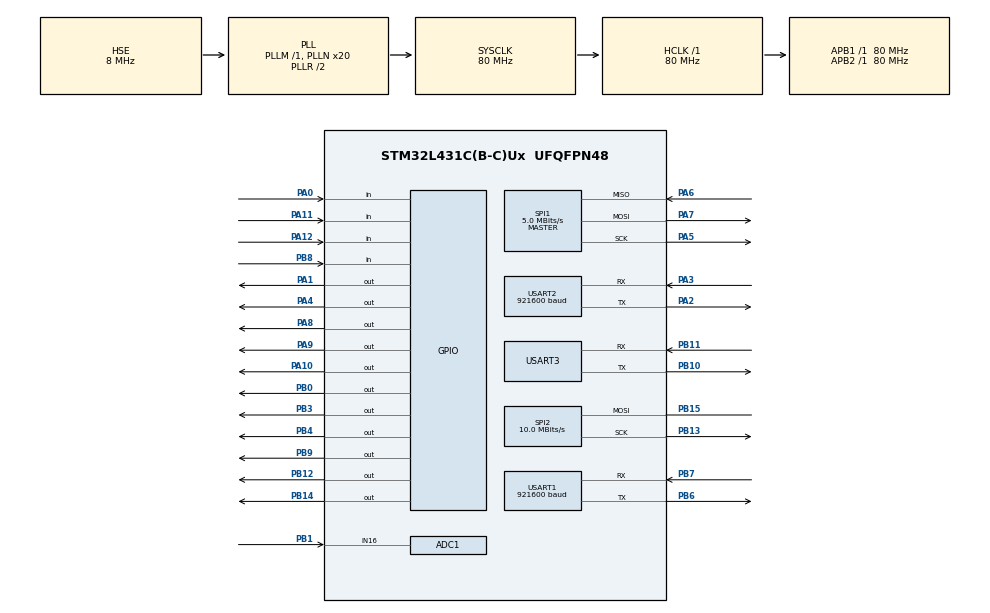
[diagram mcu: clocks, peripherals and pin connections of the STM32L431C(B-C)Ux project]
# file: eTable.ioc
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ADC1.Channel-2\#ChannelRegularConversion=ADC_CHANNEL_16
ADC1.NbrOfConversionFlag=1
ADC1.OffsetNumber-2\#ChannelRegularConversion=ADC_OFFSET_NONE
ADC1.Rank-2\#ChannelRegularConversion=1
ADC1.SamplingTime-2\#ChannelRegularConversion=ADC_SAMPLETIME_2CYCLES_5
ADC1.master=1
FREERTOS.Queues01=QueueBLEusart,1100,uint8_t,0,Dynamic,NULL,NULL
FREERTOS.Tasks01=getBLETask,40,1800,GetBLETask,Default,NULL,Dynamic,NULL,NULL;ConfigdisTask,8,500,configdisTask,Default,NULL,Dynamic,NULL,NULL
FREERTOS.configTOTAL_HEAP_SIZE=24000
Mcu.Family=STM32L4
Mcu.Name=STM32L431C(B-C)Ux
Mcu.Package=UFQFPN48
NVIC.PriorityGroup=NVIC_PRIORITYGROUP_4
NVIC.TIM1_UP_TIM16_IRQn=true\:0\:0\:false\:false\:true\:false\:false\:true
NVIC.TimeBase=TIM1_UP_TIM16_IRQn
NVIC.TimeBaseIP=TIM16
NVIC.USART2_IRQn=true\:6\:0\:true\:false\:true\:false\:true\:true
PA0.GPIO_PuPd=GPIO_PULLUP
PA0.Signal=GPIO_Input
PA1.Signal=GPIO_Output
PA10.Signal=GPIO_Output
PA11.GPIO_PuPd=GPIO_PULLUP
PA11.Signal=GPIO_Input
PA12.GPIO_PuPd=GPIO_PULLUP
PA12.Signal=GPIO_Input
PA13\ (JTMS-SWDIO).Mode=Serial_Wire
PA13\ (JTMS-SWDIO).Signal=SYS_JTMS-SWDIO
PA14\ (JTCK-SWCLK).Mode=Serial_Wire
PA14\ (JTCK-SWCLK).Signal=SYS_JTCK-SWCLK
PA2.GPIO_PuPd=GPIO_PULLUP
PA2.Mode=Asynchronous
PA2.Signal=USART2_TX
PA3.GPIO_PuPd=GPIO_PULLUP
PA3.Mode=Asynchronous
PA3.Signal=USART2_RX
PA4.PinState=GPIO_PIN_SET
PA4.Signal=GPIO_Output
PA5.Mode=Full_Duplex_Master
PA5.Signal=SPI1_SCK
PA6.Mode=Full_Duplex_Master
PA6.Signal=SPI1_MISO
PA7.Mode=Full_Duplex_Master
PA7.Signal=SPI1_MOSI
PA8.Signal=GPIO_Output
PA9.Signal=GPIO_Output
PB0.PinState=GPIO_PIN_SET
PB0.Signal=GPIO_Output
PB1.Signal=SharedAnalog_PB1
PB10.GPIO_PuPd=GPIO_PULLUP
PB10.Mode=Asynchronous
PB10.Signal=USART3_TX
PB11.GPIO_PuPd=GPIO_PULLUP
PB11.Mode=Asynchronous
PB11.Signal=USART3_RX
PB12.Signal=GPIO_Output
PB13.Mode=Simplex_Bidirectional_Master
PB13.Signal=SPI2_SCK
PB14.Signal=GPIO_Output
PB15.Mode=Simplex_Bidirectional_Master
PB15.Signal=SPI2_MOSI
PB3\ (JTDO-TRACESWO).Signal=GPIO_Output
PB4\ (NJTRST).Signal=GPIO_Output
PB6.GPIO_PuPd=GPIO_PULLUP
PB6.Mode=Asynchronous
PB6.Signal=USART1_TX
PB7.GPIO_PuPd=GPIO_PULLUP
PB7.Mode=Asynchronous
PB7.Signal=USART1_RX
PB8.Signal=GPIO_Input
PB9.Signal=GPIO_Output
PC14-OSC32_IN\ (PC14).Mode=LSE-External-Oscillator
PC14-OSC32_IN\ (PC14).Signal=RCC_OSC32_IN
PC15-OSC32_OUT\ (PC15).Mode=LSE-External-Oscillator
PC15-OSC32_OUT\ (PC15).Signal=RCC_OSC32_OUT
PH0-OSC_IN\ (PH0).Mode=HSE-External-Oscillator
PH0-OSC_IN\ (PH0).Signal=RCC_OSC_IN
PH1-OSC_OUT\ (PH1).Mode=HSE-External-Oscillator
PH1-OSC_OUT\ (PH1).Signal=RCC_OSC_OUT
ProjectManager.HeapSize=0x200
ProjectManager.StackSize=0x400
ProjectManager.TargetToolchain=EWARM V8.32
RCC.ADCCLockSelection=RCC_ADCCLKSOURCE_SYSCLK
RCC.ADCFreq_Value=80000000
RCC.AHBFreq_Value=80000000
RCC.APB1Freq_Value=80000000
RCC.APB1TimFreq_Value=80000000
RCC.APB2Freq_Value=80000000
RCC.APB2TimFreq_Value=80000000
RCC.CortexFreq_Value=80000000
RCC.HCLKFreq_Value=80000000
RCC.HSE_VALUE=8000000
RCC.HSI48_VALUE=48000000
RCC.HSI_VALUE=16000000
RCC.MSI_VALUE=4000000
RCC.PLLN=20
RCC.PLLSAI1N=16
RCC.PLLSourceVirtual=RCC_PLLSOURCE_HSE
RCC.RTCClockSelection=RCC_RTCCLKSOURCE_LSE
RCC.SYSCLKFreq_VALUE=80000000
RCC.SYSCLKSource=RCC_SYSCLKSOURCE_PLLCLK
RCC.VCOOutputFreq_Value=160000000
SH.SharedAnalog_PB1.0=GPIO_Analog
SH.SharedAnalog_PB1.1=ADC1_IN16,IN16-Single-Ended
SPI1.BaudRatePrescaler=SPI_BAUDRATEPRESCALER_16
SPI1.CalculateBaudRate=5.0 MBits/s
SPI1.DataSize=SPI_DATASIZE_8BIT
SPI1.Direction=SPI_DIRECTION_2LINES
SPI1.Mode=SPI_MODE_MASTER
SPI1.NSSPMode=SPI_NSS_PULSE_DISABLE
SPI1.VirtualType=VM_MASTER
SPI2.BaudRatePrescaler=SPI_BAUDRATEPRESCALER_8
SPI2.CalculateBaudRate=10.0 MBits/s
SPI2.DataSize=SPI_DATASIZE_8BIT
SPI2.Direction=SPI_DIRECTION_1LINE
SPI2.Mode=SPI_MODE_MASTER
SPI2.NSSPMode=SPI_NSS_PULSE_DISABLE
SPI2.VirtualType=VM_MASTER
USART1.BaudRate=921600
USART1.VirtualMode-Asynchronous=VM_ASYNC
USART2.BaudRate=921600
USART2.VirtualMode-Asynchronous=VM_ASYNC
USART3.VirtualMode-Asynchronous=VM_ASYNC
VP_FREERTOS_VS_CMSIS_V2.Mode=CMSIS_V2
VP_RTC_VS_RTC_Activate.Mode=RTC_Enabled
VP_SYS_VS_tim16.Mode=TIM16
board=custom

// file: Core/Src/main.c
/* USER CODE BEGIN Header */
/**
  ******************************************************************************
  * @file           : main.c
  * @brief          : Main program body
  ******************************************************************************
  * @attention
  *
  * <h2><center>&copy; Copyright (c) 2021 STMicroelectronics.
  * All rights reserved.</center></h2>
  *
  * This software component is licensed by ST under Ultimate Liberty license
  * SLA0044, the "License"; You may not use this file except in compliance with
  * the License. You may obtain a copy of the License at:
  *                             www.st.com/SLA0044
  *
  ******************************************************************************
  */
/* USER CODE END Header */
#include "main.h"
#include "cmsis_os.h"
#include "adc.h"
#include "rtc.h"
#include "spi.h"
#include "usart.h"
#include "gpio.h"

/* USER CODE BEGIN Includes */
#include "dataconfig.h"
#include "tablesign.h"
/* USER CODE END Includes */

void SystemClock_Config(void);
void MX_FREERTOS_Init(void);

/* USER CODE BEGIN 0 */
extern Display_Data eDisplay_Data;
/* USER CODE END 0 */

int main(void)
{

  /* MCU Configuration--------------------------------------------------------*/

  /* Reset of all peripherals, Initializes the Flash interface and the Systick. */
  HAL_Init();

  /* Configure the system clock */
  SystemClock_Config();

  /* Initialize all configured peripherals */
  MX_GPIO_Init();
  MX_ADC1_Init();
  MX_RTC_Init();
  MX_SPI1_Init();
  MX_SPI2_Init();
  MX_USART1_UART_Init();
  MX_USART2_UART_Init();
  MX_USART3_UART_Init();

  /* Init scheduler */
  osKernelInitialize();  /* Call init function for freertos objects (in freertos.c) */
  MX_FREERTOS_Init();
  /* Start scheduler */
  osKernelStart();

  /* We should never get here as control is now taken by the scheduler */
  /* Infinite loop */
  while (1)
  {

  }
}

void SystemClock_Config(void)
{
  RCC_OscInitTypeDef RCC_OscInitStruct = {0};
  RCC_ClkInitTypeDef RCC_ClkInitStruct = {0};
  RCC_PeriphCLKInitTypeDef PeriphClkInit = {0};

  /** Configure LSE Drive Capability
  */
  HAL_PWR_EnableBkUpAccess();
  __HAL_RCC_LSEDRIVE_CONFIG(RCC_LSEDRIVE_LOW);
  /** Initializes the RCC Oscillators according to the specified parameters
  * in the RCC_OscInitTypeDef structure.
  */
  RCC_OscInitStruct.OscillatorType = RCC_OSCILLATORTYPE_HSE|RCC_OSCILLATORTYPE_LSE;
  RCC_OscInitStruct.HSEState = RCC_HSE_ON;
  RCC_OscInitStruct.LSEState = RCC_LSE_ON;
  RCC_OscInitStruct.PLL.PLLState = RCC_PLL_ON;
  RCC_OscInitStruct.PLL.PLLSource = RCC_PLLSOURCE_HSE;
  RCC_OscInitStruct.PLL.PLLM = 1;
  RCC_OscInitStruct.PLL.PLLN = 20;
  RCC_OscInitStruct.PLL.PLLP = RCC_PLLP_DIV7;
  RCC_OscInitStruct.PLL.PLLQ = RCC_PLLQ_DIV2;
  RCC_OscInitStruct.PLL.PLLR = RCC_PLLR_DIV2;
  if (HAL_RCC_OscConfig(&RCC_OscInitStruct) != HAL_OK)
  {
    Error_Handler();
  }
  /** Initializes the CPU, AHB and APB buses clocks
  */
  RCC_ClkInitStruct.ClockType = RCC_CLOCKTYPE_HCLK|RCC_CLOCKTYPE_SYSCLK
                              |RCC_CLOCKTYPE_PCLK1|RCC_CLOCKTYPE_PCLK2;
  RCC_ClkInitStruct.SYSCLKSource = RCC_SYSCLKSOURCE_PLLCLK;
  RCC_ClkInitStruct.AHBCLKDivider = RCC_SYSCLK_DIV1;
  RCC_ClkInitStruct.APB1CLKDivider = RCC_HCLK_DIV1;
  RCC_ClkInitStruct.APB2CLKDivider = RCC_HCLK_DIV1;

  if (HAL_RCC_ClockConfig(&RCC_ClkInitStruct, FLASH_LATENCY_4) != HAL_OK)
  {
    Error_Handler();
  }
  PeriphClkInit.PeriphClockSelection = RCC_PERIPHCLK_RTC|RCC_PERIPHCLK_USART1
                              |RCC_PERIPHCLK_USART2|RCC_PERIPHCLK_USART3
                              |RCC_PERIPHCLK_ADC;
  PeriphClkInit.Usart1ClockSelection = RCC_USART1CLKSOURCE_PCLK2;
  PeriphClkInit.Usart2ClockSelection = RCC_USART2CLKSOURCE_PCLK1;
  PeriphClkInit.Usart3ClockSelection = RCC_USART3CLKSOURCE_PCLK1;
  PeriphClkInit.AdcClockSelection = RCC_ADCCLKSOURCE_SYSCLK;
  PeriphClkInit.RTCClockSelection = RCC_RTCCLKSOURCE_LSE;
  if (HAL_RCCEx_PeriphCLKConfig(&PeriphClkInit) != HAL_OK)
  {
    Error_Handler();
  }
  /** Configure the main internal regulator output voltage
  */
  if (HAL_PWREx_ControlVoltageScaling(PWR_REGULATOR_VOLTAGE_SCALE1) != HAL_OK)
  {
    Error_Handler();
  }
}

/* USER CODE BEGIN 4 */
///*蓝牙串口回调函数*/
//void HAL_UART_RxCpltCallback(UART_HandleTypeDef *huart){
//  if(huart == &huart2){
//    BLE_CallBack();
//  }
//}

/* USER CODE END 4 */

void HAL_TIM_PeriodElapsedCallback(TIM_HandleTypeDef *htim)
{
  if (htim->Instance == TIM16) {
    HAL_IncTick();
  }
}

void Error_Handler(void)
{
}

/************************ (C) COPYRIGHT STMicroelectronics *****END OF FILE****/

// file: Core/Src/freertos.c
/* USER CODE BEGIN Header */
/**
  ******************************************************************************
  * File Name          : freertos.c
  * Description        : Code for freertos applications
  ******************************************************************************
  * @attention
  *
  * <h2><center>&copy; Copyright (c) 2021 STMicroelectronics.
  * All rights reserved.</center></h2>
  *
  * This software component is licensed by ST under Ultimate Liberty license
  * SLA0044, the "License"; You may not use this file except in compliance with
  * the License. You may obtain a copy of the License at:
  *                             www.st.com/SLA0044
  *
  ******************************************************************************
  */
/* USER CODE END Header */

#include "FreeRTOS.h"
#include "task.h"
#include "main.h"
#include "cmsis_os.h"

/* USER CODE BEGIN Includes */
#include "string.h"
#include "w25q128.h"
#include "dataconfig.h"
#include "blecomm.h"
#include "gpio.h"
#include "usart.h"
#include "spi.h"
#include "adc.h"
/* USER CODE END Includes */

/* USER CODE BEGIN PD */
void Lpower_sleep_config(void);
/* USER CODE END PD */

/* USER CODE BEGIN PM */
/*定义无连接计�?*/
uint8_t connttimeout=0;

uint32_t BLEUart2RxCnt=0;
uint8_t  BLEUart2RxData[1124] = {0};

extern uint8_t Displayflag;

extern UART_HandleTypeDef huart2;

extern Display_Data eDisplay_Data;
/* USER CODE END PM */

/* USER CODE BEGIN Variables */
unsigned char pBits[192*192/8];
/* USER CODE END Variables */
/* Definitions for getBLETask */
osThreadId_t getBLETaskHandle;
const osThreadAttr_t getBLETask_attributes = {
  .name = "getBLETask",
  .priority = (osPriority_t) osPriorityHigh,
  .stack_size = 1800 * 4
};
/* Definitions for ConfigdisTask */
osThreadId_t ConfigdisTaskHandle;
const osThreadAttr_t ConfigdisTask_attributes = {
  .name = "ConfigdisTask",
  .priority = (osPriority_t) osPriorityLow,
  .stack_size = 500 * 4
};
/* Definitions for QueueBLEusart */
osMessageQueueId_t QueueBLEusartHandle;
const osMessageQueueAttr_t QueueBLEusart_attributes = {
  .name = "QueueBLEusart"
};

void GetBLETask(void *argument);
void configdisTask(void *argument);

void MX_FREERTOS_Init(void); /* (MISRA C 2004 rule 8.1) */

void MX_FREERTOS_Init(void) {

  /* Create the queue(s) */
  /* creation of QueueBLEusart */
  QueueBLEusartHandle = osMessageQueueNew (1100, sizeof(uint8_t), &QueueBLEusart_attributes);

  /* Create the thread(s) */
  /* creation of getBLETask */
  getBLETaskHandle = osThreadNew(GetBLETask, NULL, &getBLETask_attributes);

  /* creation of ConfigdisTask */
  ConfigdisTaskHandle = osThreadNew(configdisTask, NULL, &ConfigdisTask_attributes);

}

void GetBLETask(void *argument)
{
  /* USER CODE BEGIN GetBLETask */
  uint8_t indata;
  uint8_t ebuff;
  HAL_UART_Receive_IT(&_BLE_USART, &indata, 1);

  memset(&eDisplay_Data,0,sizeof(eDisplay_Data));
  /* Infinite loop */
  while(1)
  {
    if(osMessageQueueGet(QueueBLEusartHandle, &ebuff, NULL, portMAX_DELAY) == osOK)
    {
//      BLEUart2RxData[BLEUart2RxCnt++] = ebuff;
      /*设置接收超时时间，时间越长可等待蓝牙容错率越�?*/
      osDelay(500);
//      HAL_NVIC_DisableIRQ(USART2_IRQn);
//      while(1)
//      {
//        /*将获取的数据放入接收字符串中*/
//        if(osMessageQueueGet(QueueBLEusartHandle, &ebuff, NULL, 300) == osOK)
//        {
//          BLEUart2RxData[BLEUart2RxCnt++] = ebuff;
//        }
//        else
//        {
//          /*接收数据完毕处理相应信息*/
//          Rev_DataAnalye(BLEEVENT,BLEUart2RxData,BLEUart2RxCnt);
//          /*清理相关BUFF*/
//          memset(BLEUart2RxData,0,sizeof(BLEUart2RxData));
//          BLEUart2RxCnt = 0;
//          break;
//        }
//      }
          /*接收数据完毕处理相应信息*/
        if(BLEUart2RxData[0] == 0xFF)
          Rev_DataAnalye(BLEEVENT,BLEUart2RxData,BLEUart2RxCnt);
//          HAL_NVIC_EnableIRQ(USART2_IRQn);
//          /*清理相关BUFF*/
          memset(BLEUart2RxData,0,sizeof(BLEUart2RxData));
          BLEUart2RxCnt = 0;
    }
  }
  /* USER CODE END GetBLETask */
}

void configdisTask(void *argument)
{
  /* USER CODE BEGIN configdisTask */
  /* Infinite loop */
  while(1)
  {
    /*判断电平是否处于高电平，高电平处于连接状�?*/
    if( BLEWakeUp == 0 )
    {
      if(connttimeout > 0)
      {
        connttimeout=0;
      }
    }
    /*判断是否在显示屏�?*/
    else if(Displayflag)
    {
      switch(Displayflag)
      {
        case 1:
          if(TABLEA_BUSY() != 0)
          {
            Displayflag = 0;
            TABLEPOWOFF();
          }
          break;
        case 2:
          if(TABLEB_BUSY() != 0)
          {
            Displayflag = 0;
            TABLEPOWOFF();
          }
        default:
          if((TABLEA_BUSY() != 0) && (TABLEB_BUSY() != 0))
          {
            Displayflag = 0;
            TABLEPOWOFF();
          }
      }
      if(connttimeout > 0)
      {
        connttimeout=0;
      }
    }
    else
    {
      connttimeout++;
      user_main_info("BLE connect timeout %d",connttimeout);
      /*如果断开设备之后6秒，则进入显示设备消息显�?*/
      if(connttimeout > 1)
      {
        if(eDisplay_Data.WIRTEDAT == 1)
          memset(&eDisplay_Data,0,sizeof(eDisplay_Data));
        /*�?测设备是否有输入数据并进行显�?*/
        if(eDisplay_Data.DATAMODA)
        {
          TableSignSeting(TabFaceA,eDisplay_Data.PICADDRA,eDisplay_Data.DATAMODA);
          eDisplay_Data.DATAMODA = Picnone;
          eDisplay_Data.PICADDRA = 0;
        }
        /*�?测设备是否有输入数据并进行显�?*/
        if(eDisplay_Data.DATAMODB)
        {
          TableSignSeting(TabFaceB,eDisplay_Data.PICADDRB,eDisplay_Data.DATAMODB);
          eDisplay_Data.DATAMODB = Picnone;
          eDisplay_Data.PICADDRB = 0;
        }
        /*�?测设备是否有输入数据并进行显�?*/
        if(eDisplay_Data.DATAMODAB)
        {
          TableSignSeting(TabFaceAB,eDisplay_Data.PICADDRAB,eDisplay_Data.DATAMODAB);
          eDisplay_Data.DATAMODAB = Picnone;
          eDisplay_Data.PICADDRAB = 0;
        }
      }
      /*如果超时将设备进入休眠模�?*/
      if(connttimeout > 10)
      {
        connttimeout = 0;
        TABLEPOWOFF();
        user_main_info("BLE connect timeout entry");
        /*断开超时之后进入休眠*/
        Lpower_sleep_config();
      }
    }
    osDelay(500);
   }
  /* USER CODE END configdisTask */
}

/* USER CODE BEGIN Application */
void BLE_handle_uartirq(char ch)
{
  osMessageQueuePut(QueueBLEusartHandle, &ch, NULL, 0);
}

/*低功耗休眠函数设�?*/
void Lpower_sleep_config(void)
{
  GPIO_InitTypeDef GPIO_InitStruct;

  user_main_info("BLE no connent device will sleep");
  SPI_DeInit();
  ADC_DeInit();
//  UART_Init();

  user_main_info("BLE entry sleep");
  __HAL_RCC_GPIOA_CLK_ENABLE();
  __HAL_RCC_GPIOB_CLK_ENABLE();
  __HAL_RCC_GPIOC_CLK_ENABLE();
  __HAL_RCC_GPIOH_CLK_ENABLE();

  GPIO_InitStruct.Mode = GPIO_MODE_ANALOG;
  GPIO_InitStruct.Pull = GPIO_NOPULL;
  GPIO_InitStruct.Pin = GPIO_PIN_All;
  HAL_GPIO_Init(GPIOC, &GPIO_InitStruct);
  HAL_GPIO_Init(GPIOH, &GPIO_InitStruct);
  GPIO_InitStruct.Pin = GPIO_PIN_All & ~GPIO_PIN_3;
  HAL_GPIO_Init(GPIOA, &GPIO_InitStruct);
  GPIO_InitStruct.Pin = GPIO_PIN_All & ~GPIO_PIN_3;
  HAL_GPIO_Init(GPIOB, &GPIO_InitStruct);

  /* Disable GPIOs clock */
  __HAL_RCC_GPIOC_CLK_DISABLE();
  __HAL_RCC_GPIOB_CLK_DISABLE();
  // __HAL_RCC_GPIOA_CLK_DISABLE();
  __HAL_RCC_GPIOH_CLK_DISABLE();

  sleep_BLE_Uartconfig();

  HAL_SuspendTick();
  HAL_PWR_DeInit();
  HAL_PWR_DisablePVD();
//
  HAL_PWR_EnterSTOPMode(PWR_LOWPOWERREGULATOR_ON,PWR_STOPENTRY_WFI);
//  osDelay(5000);
//
  HAL_PWR_EnablePVD();
  HAL_ResumeTick();
//  HAL_Init();
  SystemClock_Config();
  MX_GPIO_Init();
  UART_Init();
  SPI_Init();
  ADC_Init();
//  GPIO_Init();
//  MX_USART2_UART_Init();
//  HAL_UART_Receive_IT(&_BLE_USART, &indata, 1);
//  HAL_NVIC_DisableIRQ(EXTI3_IRQn);
//  MX_RTC_Init();
  user_main_info("wake up!!!");

}

/* USER CODE END Application */

/************************ (C) COPYRIGHT STMicroelectronics *****END OF FILE****/
